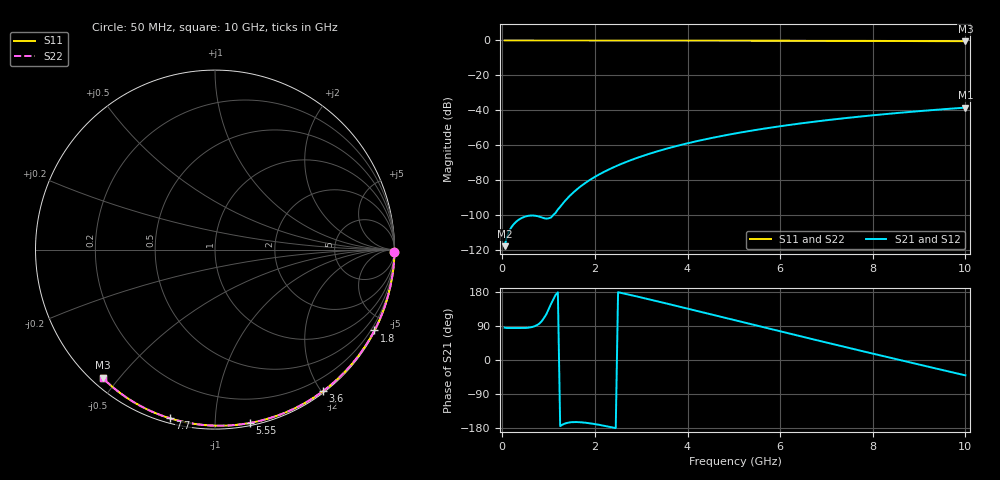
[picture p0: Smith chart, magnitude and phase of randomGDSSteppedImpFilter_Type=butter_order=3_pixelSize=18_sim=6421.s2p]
! freq	dB(S11)	phase(S11)	dB(S12)	phase(S12)
!  dB(S21)	phase(S21)	dB(S22)	phase(S22)
!S-par simulation data
#  GHz  S  DB  R 50
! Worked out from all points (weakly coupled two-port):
!   200 points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, 50 MHz to 10 GHz, reference 50 ohm
!   highest |S21| = -38.45 dB at 10 GHz (marker M1); lowest = -117.8 dB at 50 MHz (marker M2)
!   lowest |S11| = -0.4 dB at 10 GHz (marker M3), VSWR 39.14, Z = 1.54 - j22.6 ohm
!   |S11| at or under -10 dB: nowhere
!   |S22| runs from -0.4 to 0.0 dB; largest |S21 - S12| = 0
!   S11 on the Smith chart (normalised r, x): 50 MHz: open; 1.8 GHz: 0.04, -4.18; 3.6 GHz: 0.02, -2.02; 5.55 GHz: 0.02, -1.22; 7.7 GHz: 0.02, -0.77; 10 GHz: 0.03, -0.45
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0.05  -0.00 -0.8  -117.77 85.4  -117.77 85.4  -0.00 -0.8
0.9  -0.02 -13.6  -101.73 110.8  -101.73 110.8  -0.02 -13.6
1.75  -0.03 -26.2  -82.39 -164.9  -82.39 -164.9  -0.03 -26.2
1.8  -0.03 -26.9  -81.45 -165.6  -81.45 -165.6  -0.03 -26.9
1.85  -0.04 -27.6  -80.56 -166.4  -80.56 -166.4  -0.04 -27.6
1.9  -0.04 -28.4  -79.70 -167.2  -79.70 -167.2  -0.04 -28.4
2.05  -0.04 -30.6  -77.32 -170.2  -77.32 -170.2  -0.04 -30.5
2.25  -0.04 -33.5  -74.52 -174.8  -74.52 -174.8  -0.04 -33.5
2.45  -0.05 -36.3  -72.04 -179.9  -72.04 -179.9  -0.05 -36.3
2.65  -0.05 -39.2  -69.82 174.8  -69.82 174.8  -0.05 -39.2
3  -0.06 -44.2  -66.41 165.0  -66.41 165.0  -0.06 -44.2
3.4  -0.07 -49.8  -63.07 153.4  -63.07 153.4  -0.07 -49.8
3.6  -0.07 -52.6  -61.58 147.5  -61.58 147.5  -0.07 -52.6
4.3  -0.09 -62.2  -57.07 126.6  -57.07 126.6  -0.09 -62.2
5.05  -0.11 -72.1  -53.14 104.1  -53.14 104.1  -0.11 -72.1
5.55  -0.13 -78.6  -50.91 89.1  -50.91 89.1  -0.13 -78.6
6.1  -0.15 -85.5  -48.73 72.7  -48.73 72.7  -0.15 -85.5
6.7  -0.18 -92.9  -46.63 54.9  -46.63 54.9  -0.18 -92.9
7.7  -0.24 -104.9  -43.64 25.6  -43.64 25.6  -0.24 -104.9
8.35  -0.29 -112.5  -41.97 6.7  -41.97 6.7  -0.29 -112.5
9.15  -0.36 -121.7  -40.15 -16.3  -40.15 -16.3  -0.36 -121.7
10  -0.44 -131.3  -38.45 -40.6  -38.45 -40.6  -0.44 -131.2
